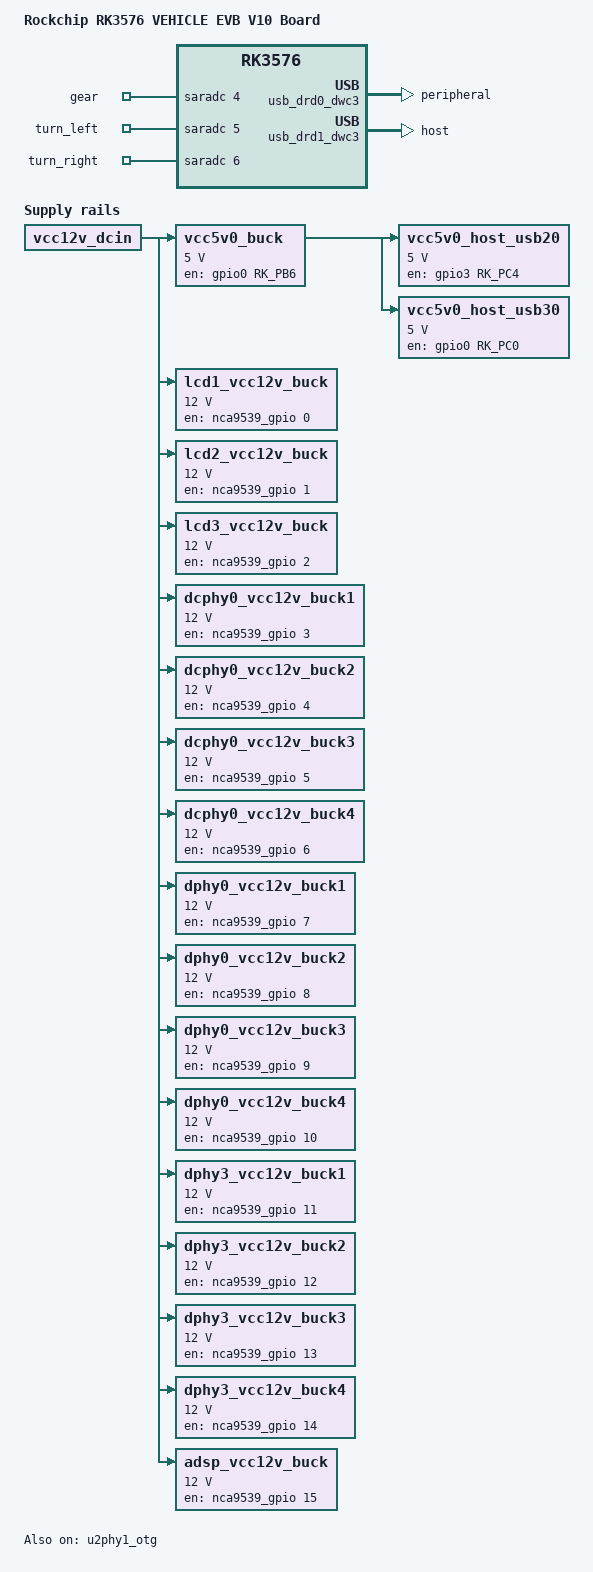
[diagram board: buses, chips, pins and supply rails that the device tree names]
// SPDX-License-Identifier: (GPL-2.0+ OR MIT)
/*
 * Copyright (c) 2024 Rockchip Electronics Co., Ltd.
 *
 */

/dts-v1/;

#include "rk3576-vehicle-evb.dtsi"
#include "rk3576-vehicle-evb-v10-nca9539-io-expander.dtsi"
#include "rk3576-vehicle-serdes-mfd-display-maxim.dtsi"
#include "rk3576-vehicle-evb-maxim-max96712-dphy0.dtsi"
#include "rk3576-android.dtsi"

/ {
	model = "Rockchip RK3576 VEHICLE EVB V10 Board";
	compatible = "rockchip,rk3576-vehicle-evb-v10", "rockchip,rk3576";

	vehicle_dummy: vehicle-dummy {
		status = "okay";
		compatible = "rockchip,vehicle-dummy-adc";
		io-channels = <&saradc 4>, <&saradc 5>, <&saradc 6>;
		io-channel-names = "gear", "turn_left", "turn_right";
	};

	vcc5v0_buck: vcc5v0-buck {
		compatible = "regulator-fixed";
		regulator-name = "vcc5v0_buck";
		regulator-boot-on;
		regulator-always-on;
		regulator-min-microvolt = <5000000>;
		regulator-max-microvolt = <5000000>;
		enable-active-high;
		gpio = <&gpio0 RK_PB6 GPIO_ACTIVE_HIGH>;
		vin-supply = <&vcc12v_dcin>;
		pinctrl-names = "default";
		pinctrl-0 = <&vcc5v0_buck_en>;
		startup-delay-us = <2500>;
		off-on-delay-us = <1500>;
		regulator-state-mem {
			regulator-on-in-suspend;
			regulator-suspend-microvolt = <5000000>;
		};
	};

	vcc5v0_host_usb20: vcc5v0-host-usb20 {
		compatible = "regulator-fixed";
		regulator-name = "vcc5v0_host_usb20";
		regulator-boot-on;
		regulator-always-on;
		regulator-min-microvolt = <5000000>;
		regulator-max-microvolt = <5000000>;
		enable-active-high;
		gpio = <&gpio3 RK_PC4 GPIO_ACTIVE_HIGH>;
		startup-delay-us = <2000>;
		off-on-delay-us = <16000>;
		vin-supply = <&vcc5v0_buck>;
	};

	vcc5v0_host_usb30: vcc5v0-host-usb30 {
		compatible = "regulator-fixed";
		regulator-name = "vcc5v0_host_usb30";
		regulator-boot-on;
		regulator-always-on;
		regulator-min-microvolt = <5000000>;
		regulator-max-microvolt = <5000000>;
		enable-active-high;
		gpio = <&gpio0 RK_PC0 GPIO_ACTIVE_HIGH>;
		startup-delay-us = <2000>;
		off-on-delay-us = <16000>;
		vin-supply = <&vcc5v0_buck>;
	};

	lcd1_vcc12v_buck: lcd1_vcc12v-buck {
		compatible = "regulator-fixed";
		regulator-name = "lcd1_vcc12v_buck";
		regulator-boot-on;
		regulator-always-on;
		regulator-min-microvolt = <12000000>;
		regulator-max-microvolt = <12000000>;
		enable-active-high;
		gpio = <&nca9539_gpio 0 GPIO_ACTIVE_HIGH>;
		vin-supply = <&vcc12v_dcin>;
		regulator-state-mem {
			regulator-off-in-suspend;
			regulator-suspend-microvolt = <12000000>;
		};
	};

	lcd2_vcc12v_buck: lcd2_vcc12v-buck {
		compatible = "regulator-fixed";
		regulator-name = "lcd2_vcc12v_buck";
		regulator-boot-on;
		regulator-always-on;
		regulator-min-microvolt = <12000000>;
		regulator-max-microvolt = <12000000>;
		enable-active-high;
		gpio = <&nca9539_gpio 1 GPIO_ACTIVE_HIGH>;
		vin-supply = <&vcc12v_dcin>;
		regulator-state-mem {
			regulator-off-in-suspend;
			regulator-suspend-microvolt = <12000000>;
		};
	};

	lcd3_vcc12v_buck: lcd3_vcc12v-buck {
		compatible = "regulator-fixed";
		regulator-name = "lcd3_vcc12v_buck";
		regulator-boot-on;
		regulator-always-on;
		regulator-min-microvolt = <12000000>;
		regulator-max-microvolt = <12000000>;
		enable-active-high;
		gpio = <&nca9539_gpio 2 GPIO_ACTIVE_HIGH>;
		vin-supply = <&vcc12v_dcin>;
		regulator-state-mem {
			regulator-off-in-suspend;
			regulator-suspend-microvolt = <12000000>;
		};
	};

	dcphy0_vcc12v_buck1: dcphy0_vcc12v-buck1 {
		compatible = "regulator-fixed";
		regulator-name = "dcphy0_vcc12v_buck1";
		regulator-boot-on;
		regulator-min-microvolt = <12000000>;
		regulator-max-microvolt = <12000000>;
		enable-active-high;
		gpio = <&nca9539_gpio 3 GPIO_ACTIVE_HIGH>;
		startup-delay-us = <2000>;
		off-on-delay-us = <16000>;
		vin-supply = <&vcc12v_dcin>;
		regulator-state-mem {
			regulator-off-in-suspend;
			regulator-suspend-microvolt = <12000000>;
		};
	};

	dcphy0_vcc12v_buck2: dcphy0_vcc12v-buck2 {
		compatible = "regulator-fixed";
		regulator-name = "dcphy0_vcc12v_buck2";
		regulator-boot-on;
		regulator-min-microvolt = <12000000>;
		regulator-max-microvolt = <12000000>;
		enable-active-high;
		gpio = <&nca9539_gpio 4 GPIO_ACTIVE_HIGH>;
		startup-delay-us = <2000>;
		off-on-delay-us = <16000>;
		vin-supply = <&vcc12v_dcin>;
		regulator-state-mem {
			regulator-off-in-suspend;
			regulator-suspend-microvolt = <12000000>;
		};
	};

	dcphy0_vcc12v_buck3: dcphy0_vcc12v-buck3 {
		compatible = "regulator-fixed";
		regulator-name = "dcphy0_vcc12v_buck3";
		regulator-boot-on;
		regulator-min-microvolt = <12000000>;
		regulator-max-microvolt = <12000000>;
		enable-active-high;
		gpio = <&nca9539_gpio 5 GPIO_ACTIVE_HIGH>;
		startup-delay-us = <2000>;
		off-on-delay-us = <16000>;
		vin-supply = <&vcc12v_dcin>;
		regulator-state-mem {
			regulator-off-in-suspend;
			regulator-suspend-microvolt = <12000000>;
		};
	};

	dcphy0_vcc12v_buck4: dcphy0_vcc12v-buck4 {
		compatible = "regulator-fixed";
		regulator-name = "dcphy0_vcc12v_buck4";
		regulator-boot-on;
		regulator-min-microvolt = <12000000>;
		regulator-max-microvolt = <12000000>;
		enable-active-high;
		gpio = <&nca9539_gpio 6 GPIO_ACTIVE_HIGH>;
		startup-delay-us = <2000>;
		off-on-delay-us = <16000>;
		vin-supply = <&vcc12v_dcin>;
		regulator-state-mem {
			regulator-off-in-suspend;
			regulator-suspend-microvolt = <12000000>;
		};
	};

	dphy0_vcc12v_buck1: dphy0_vcc12v-buck1 {
		compatible = "regulator-fixed";
		regulator-name = "dphy0_vcc12v_buck1";
		regulator-boot-on;
		regulator-min-microvolt = <12000000>;
		regulator-max-microvolt = <12000000>;
		enable-active-high;
		gpio = <&nca9539_gpio 7 GPIO_ACTIVE_HIGH>;
		startup-delay-us = <2000>;
		off-on-delay-us = <16000>;
		vin-supply = <&vcc12v_dcin>;
		regulator-state-mem {
			regulator-off-in-suspend;
			regulator-suspend-microvolt = <12000000>;
		};
	};

	dphy0_vcc12v_buck2: dphy0_vcc12v-buck2 {
		compatible = "regulator-fixed";
		regulator-name = "dphy0_vcc12v_buck2";
		regulator-boot-on;
		regulator-min-microvolt = <12000000>;
		regulator-max-microvolt = <12000000>;
		enable-active-high;
		gpio = <&nca9539_gpio 8 GPIO_ACTIVE_HIGH>;
		startup-delay-us = <2000>;
		off-on-delay-us = <16000>;
		vin-supply = <&vcc12v_dcin>;
		regulator-state-mem {
			regulator-off-in-suspend;
			regulator-suspend-microvolt = <12000000>;
		};
	};

	dphy0_vcc12v_buck3: dphy0_vcc12v-buck3 {
		compatible = "regulator-fixed";
		regulator-name = "dphy0_vcc12v_buck3";
		regulator-boot-on;
		regulator-min-microvolt = <12000000>;
		regulator-max-microvolt = <12000000>;
		enable-active-high;
		gpio = <&nca9539_gpio 9 GPIO_ACTIVE_HIGH>;
		startup-delay-us = <2000>;
		off-on-delay-us = <16000>;
		vin-supply = <&vcc12v_dcin>;
		regulator-state-mem {
			regulator-off-in-suspend;
			regulator-suspend-microvolt = <12000000>;
		};
	};

	dphy0_vcc12v_buck4: dphy0_vcc12v-buck4 {
		compatible = "regulator-fixed";
		regulator-name = "dphy0_vcc12v_buck4";
		regulator-boot-on;
		regulator-min-microvolt = <12000000>;
		regulator-max-microvolt = <12000000>;
		enable-active-high;
		gpio = <&nca9539_gpio 10 GPIO_ACTIVE_HIGH>;
		startup-delay-us = <2000>;
		off-on-delay-us = <16000>;
		vin-supply = <&vcc12v_dcin>;
		regulator-state-mem {
			regulator-off-in-suspend;
			regulator-suspend-microvolt = <12000000>;
		};
	};

	dphy3_vcc12v_buck1: dphy3_vcc12v-buck1 {
		compatible = "regulator-fixed";
		regulator-name = "dphy3_vcc12v_buck1";
		regulator-boot-on;
		regulator-min-microvolt = <12000000>;
		regulator-max-microvolt = <12000000>;
		enable-active-high;
		gpio = <&nca9539_gpio 11 GPIO_ACTIVE_HIGH>;
		startup-delay-us = <2000>;
		off-on-delay-us = <16000>;
		vin-supply = <&vcc12v_dcin>;
		regulator-state-mem {
			regulator-off-in-suspend;
			regulator-suspend-microvolt = <12000000>;
		};
	};

	dphy3_vcc12v_buck2: dphy3_vcc12v-buck2 {
		compatible = "regulator-fixed";
		regulator-name = "dphy3_vcc12v_buck2";
		regulator-boot-on;
		regulator-min-microvolt = <12000000>;
		regulator-max-microvolt = <12000000>;
		enable-active-high;
		gpio = <&nca9539_gpio 12 GPIO_ACTIVE_HIGH>;
		startup-delay-us = <2000>;
		off-on-delay-us = <16000>;
		vin-supply = <&vcc12v_dcin>;
		regulator-state-mem {
			regulator-off-in-suspend;
			regulator-suspend-microvolt = <12000000>;
		};
	};

	dphy3_vcc12v_buck3: dphy3_vcc12v-buck3 {
		compatible = "regulator-fixed";
		regulator-name = "dphy3_vcc12v_buck3";
		regulator-boot-on;
		regulator-min-microvolt = <12000000>;
		regulator-max-microvolt = <12000000>;
		enable-active-high;
		gpio = <&nca9539_gpio 13 GPIO_ACTIVE_HIGH>;
		startup-delay-us = <2000>;
		off-on-delay-us = <16000>;
		vin-supply = <&vcc12v_dcin>;
		regulator-state-mem {
			regulator-off-in-suspend;
			regulator-suspend-microvolt = <12000000>;
		};
	};

	dphy3_vcc12v_buck4: dphy3_vcc12v-buck4 {
		compatible = "regulator-fixed";
		regulator-name = "dphy3_vcc12v_buck4";
		regulator-boot-on;
		regulator-min-microvolt = <12000000>;
		regulator-max-microvolt = <12000000>;
		enable-active-high;
		gpio = <&nca9539_gpio 14 GPIO_ACTIVE_HIGH>;
		startup-delay-us = <2000>;
		off-on-delay-us = <16000>;
		vin-supply = <&vcc12v_dcin>;
		regulator-state-mem {
			regulator-off-in-suspend;
			regulator-suspend-microvolt = <12000000>;
		};
	};

	adsp_vcc12v_buck: adsp_vcc12v-buck {
		compatible = "regulator-fixed";
		regulator-name = "adsp_vcc12v_buck";
		regulator-boot-on;
		regulator-always-on;
		regulator-min-microvolt = <12000000>;
		regulator-max-microvolt = <12000000>;
		enable-active-high;
		gpio = <&nca9539_gpio 15 GPIO_ACTIVE_HIGH>;
		vin-supply = <&vcc12v_dcin>;
		regulator-state-mem {
			regulator-off-in-suspend;
			regulator-suspend-microvolt = <12000000>;
		};
	};

	vcc5v0_host_usb20: vcc5v0-host-usb20 {
		compatible = "regulator-fixed";
		regulator-name = "vcc5v0_host_usb20";
		regulator-boot-on;
		regulator-always-on;
		regulator-min-microvolt = <5000000>;
		regulator-max-microvolt = <5000000>;
		vin-supply = <&vcc5v0_buck>;
		regulator-state-mem {
			regulator-off-in-suspend;
			regulator-suspend-microvolt = <5000000>;
		};
	};
};

&gmac1 {
	status = "disabled";
};

&hym8563 {
	status = "disabled";
};

&pinctrl {
	touch {
		//dsi-i2c8
		touch_gpio_dsi: touch-gpio-dsi {
			rockchip,pins =
				<3 RK_PA3 RK_FUNC_GPIO &pcfg_pull_up>;
		};
		//dp-i2c5
		touch_gpio_dp: touch-gpio-dp {
			rockchip,pins = <2 RK_PD3 RK_FUNC_GPIO &pcfg_pull_up>;
		};
		//edp0-i2c2
		touch_gpio_edp: touch-gpio-edp {
			rockchip,pins =
				<4 RK_PC1 RK_FUNC_GPIO &pcfg_pull_up>;
		};
	};

	vcc5v0-buck {
		vcc5v0_buck_en: vcc5v0-buck-en {
			rockchip,pins = <0 RK_PB6 RK_FUNC_GPIO &pcfg_pull_none>;
		};
	};

};

&sdmmc {
	status = "disabled";
};

&u2phy0_otg {
	phy-supply = <&vcc5v0_host_usb20>;
};

&u2phy1_otg {
	phy-supply = <&vcc5v0_host_usb30>;
	status = "okay";
};

&usb_drd0_dwc3 {
	dr_mode = "peripheral";
	maximum-speed = "high-speed";
	extcon = <&u2phy0>;
	status = "okay";
};

&usb_drd1_dwc3 {
	dr_mode = "host";
	status = "okay";
};
